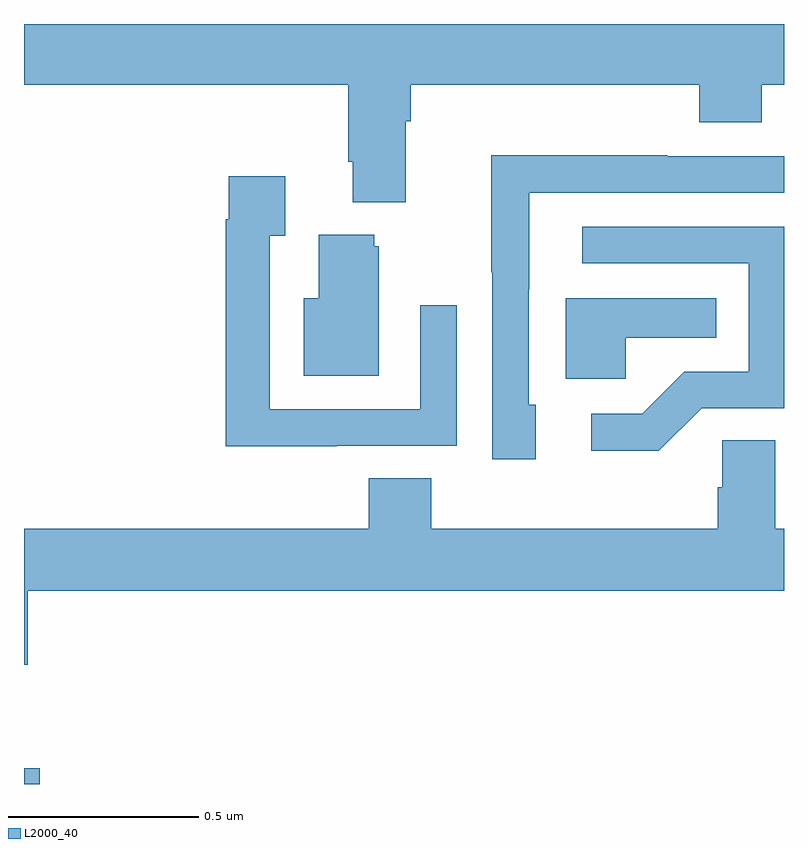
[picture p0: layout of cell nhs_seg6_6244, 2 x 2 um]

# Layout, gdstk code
import gdstk
lib = gdstk.Library(unit=1e-6, precision=1e-09)
def R(c, l, rs):  # rectangles x0, y0, x1, y1
    for r in rs: c.add(gdstk.rectangle(r[:2], r[2:], *l))
def P(c, l, *ps):  # polygons
    for p in ps: c.add(gdstk.Polygon(p, *l))
L2000_40 = (2000, 40)

nhs_seg6_6244 = lib.new_cell('nhs_seg6_6244')
R(nhs_seg6_6244, L2000_40, [(193,941.5,193.042,941.542)])
P(nhs_seg6_6244, L2000_40, [(194.005,943.244),(194.018,943.244),(194.018,943.34),(194.777,943.34),(194.777,943.241),(194.942,943.241),(194.942,943.34),(195,943.34),(195,943.5),(193,943.5),(193,943.34),(193.853,943.34),(193.853,943.138),(193.865,943.138),(193.865,943.031),(194.005,943.031)],
  [(194.347,942.498),(194.328,942.498),(194.328,942.802),(194.329,942.802),(194.329,943.056),(195,943.056),(195,943.152),(194.693,943.152),(194.693,943.154),(194.23,943.154),(194.23,942.847),(194.232,942.847),(194.232,942.354),(194.347,942.354)],
  [(193.823,942.39),(194.139,942.39),(194.139,942.76),(194.043,942.76),(194.043,942.486),(193.647,942.486),(193.647,942.943),(193.687,942.943),(193.687,943.099),(193.539,943.099),(193.539,942.986),(193.531,942.986),(193.531,942.389),(193.823,942.389)],
  [(194.784,942.489),(195,942.489),(195,942.966),(194.469,942.966),(194.469,942.87),(194.907,942.87),(194.907,942.585),(194.738,942.585),(194.627,942.474),(194.493,942.474),(194.493,942.377),(194.671,942.377)],
  [(193.933,942.915),(193.922,942.915),(193.922,942.946),(193.775,942.946),(193.775,942.778),(193.736,942.778),(193.736,942.575),(193.933,942.575)],
  [(194.583,942.674),(194.822,942.674),(194.822,942.778),(194.426,942.778),(194.426,942.566),(194.583,942.566)],
  [(193.01,942.008),(195,942.008),(195,942.172),(194.977,942.172),(194.977,942.404),(194.838,942.404),(194.838,942.281),(194.825,942.281),(194.825,942.172),(194.072,942.172),(194.072,942.305),(193.907,942.305),(193.907,942.172),(193,942.172),(193,941.814),(193.01,941.814)])

lib.write_gds('nhs_seg6_6244.gds')
